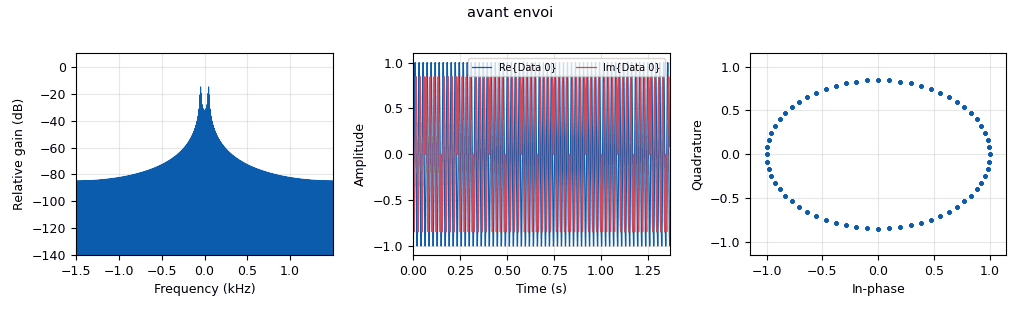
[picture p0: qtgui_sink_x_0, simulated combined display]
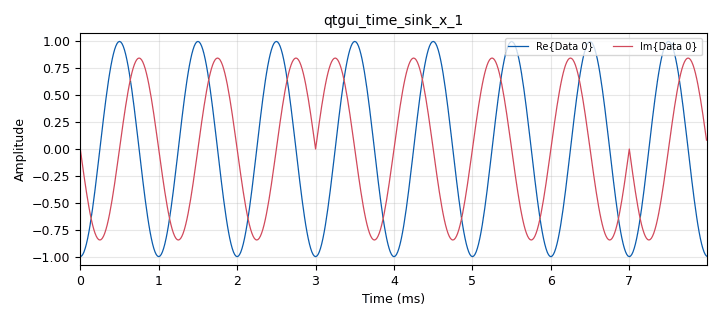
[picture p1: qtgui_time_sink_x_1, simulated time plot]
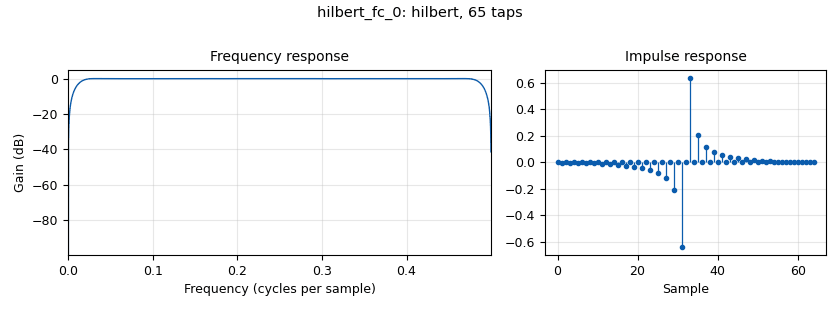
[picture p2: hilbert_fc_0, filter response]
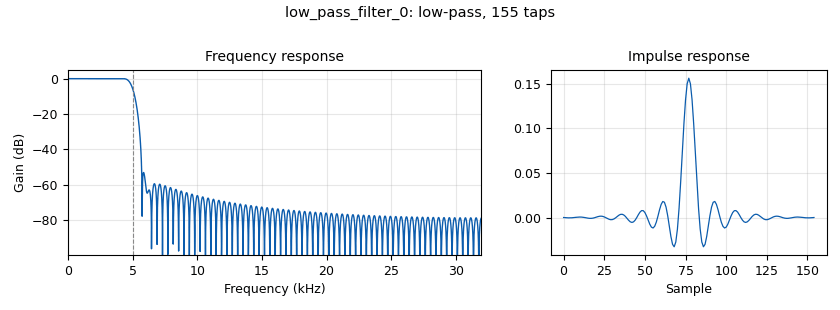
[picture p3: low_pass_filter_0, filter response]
options:
  parameters:
    author: operateur
    generate_options: qt_gui
    generator_class_name: PythonQtGuiGenerator
    generator_module: gnuradio.grc.workflows.python_qt_gui
    id: qpsk
    output_language: python
    title: Not titled yet
  states: {}

blocks:
- name: Ns
  id: variable
  parameters:
    value: '4'
  states: {}
- name: center_freq
  id: variable
  parameters:
    value: 1000*10**6
  states: {}
- name: samp_rate
  id: variable
  parameters:
    value: 64*10**3
  states: {}
- name: spp
  id: variable
  parameters:
    value: int(samp_rate/1000)
  states: {}
- name: usrp
  id: variable
  parameters:
    value: '"serial=322F67E"'
  states: {}
- name: analog_sig_source_x_0
  id: analog_sig_source_x
  parameters:
    amp: '1'
    freq: '1000'
    offset: '0'
    phase: '0'
    samp_rate: samp_rate
    type: float
    waveform: analog.GR_COS_WAVE
  states: {}
- name: blocks_complex_to_float_0
  id: blocks_complex_to_float
  parameters: {}
  states: {}
- name: blocks_float_to_complex_0
  id: blocks_float_to_complex
  parameters: {}
  states: {}
- name: blocks_multiply_const_vxx_0
  id: blocks_multiply_const_vxx
  parameters:
    const: 2*3.1415*samp_rate
    mode: vector
    type: float
  states: {}
- name: blocks_multiply_xx_0
  id: blocks_multiply_xx
  parameters:
    type: float
  states: {}
- name: blocks_repeat_0
  id: blocks_repeat
  parameters:
    interp: spp*Ns
    type: float
  states: {}
- name: blocks_throttle2_0
  id: blocks_throttle2
  parameters:
    samples_per_second: samp_rate
    type: float
  states: {}
- name: blocks_vector_source_x_0
  id: blocks_vector_source_x
  parameters:
    repeat: 'True'
    type: int
    vector: (0, 1)
  states: {}
- name: digital_chunks_to_symbols_xx_0
  id: digital_chunks_to_symbols_xx
  parameters:
    dimension: '1'
    in_type: int
    out_type: float
    symbol_table: (-1,1)
  states: {}
- name: digital_costas_loop_cc_0
  id: digital_costas_loop_cc
  parameters:
    order: '2'
    w: '0.03'
  states: {}
- name: hilbert_fc_0
  id: hilbert_fc
  parameters:
    num_taps: '65'
  states: {}
- name: low_pass_filter_0
  id: low_pass_filter
  parameters:
    cutoff_freq: '5000'
    decim: '1'
    gain: '1'
    samp_rate: samp_rate
    type: fir_filter_ccf
    width: '1000'
    win: window.WIN_HAMMING
  states: {}
- name: qtgui_const_sink_x_0
  id: qtgui_const_sink_x
  parameters:
    size: '1024'
    type: complex
  states: {}
- name: qtgui_number_sink_0
  id: qtgui_number_sink
  parameters:
    graph_type: qtgui.NUM_GRAPH_HORIZ
    type: float
  states: {}
- name: qtgui_sink_x_0
  id: qtgui_sink_x
  parameters:
    bw: '3000'
    fc: '0'
    fftsize: '4096'
    name: '"avant envoi"'
    type: complex
  states: {}
- name: qtgui_time_sink_x_0
  id: qtgui_time_sink_x
  parameters:
    name: '"source"'
    size: '256'
    srate: samp_rate
    type: complex
  states: {state: disabled}
- name: qtgui_time_sink_x_1
  id: qtgui_time_sink_x
  parameters:
    size: '512'
    srate: samp_rate
    type: complex
  states: {}
- name: uhd_usrp_sink_1
  id: uhd_usrp_sink
  parameters:
    ant0: '"TX/RX"'
    center_freq0: center_freq
    gain0: '40'
    samp_rate: samp_rate
    sync: sync
    type: fc32
  states: {}
- name: uhd_usrp_source_0
  id: uhd_usrp_source
  parameters:
    ant0: '"RX2"'
    center_freq0: center_freq
    dev_addr: usrp
    rx_agc0: Enabled
    samp_rate: samp_rate
    sync: sync
    type: fc32
  states: {}

connections:
- [analog_sig_source_x_0, '0', hilbert_fc_0, '0']
- [blocks_complex_to_float_0, '0', blocks_float_to_complex_0, '0']
- [blocks_complex_to_float_0, '1', blocks_multiply_xx_0, '0']
- [blocks_float_to_complex_0, '0', qtgui_sink_x_0, '0']
- [blocks_float_to_complex_0, '0', qtgui_time_sink_x_1, '0']
- [blocks_float_to_complex_0, '0', uhd_usrp_sink_1, '0']
- [blocks_multiply_const_vxx_0, '0', qtgui_number_sink_0, '0']
- [blocks_multiply_xx_0, '0', blocks_float_to_complex_0, '1']
- [blocks_repeat_0, '0', blocks_multiply_xx_0, '1']
- [blocks_throttle2_0, '0', blocks_repeat_0, '0']
- [blocks_vector_source_x_0, '0', digital_chunks_to_symbols_xx_0, '0']
- [digital_chunks_to_symbols_xx_0, '0', blocks_throttle2_0, '0']
- [digital_costas_loop_cc_0, '0', qtgui_const_sink_x_0, '0']
- [digital_costas_loop_cc_0, '1', blocks_multiply_const_vxx_0, '0']
- [hilbert_fc_0, '0', blocks_complex_to_float_0, '0']
- [hilbert_fc_0, '0', qtgui_time_sink_x_0, '0']
- [low_pass_filter_0, '0', digital_costas_loop_cc_0, '0']
- [uhd_usrp_source_0, '0', low_pass_filter_0, '0']

metadata:
  file_format: 1
  grc_version: v3.11.0.0git-1029-g3c48f5e2
